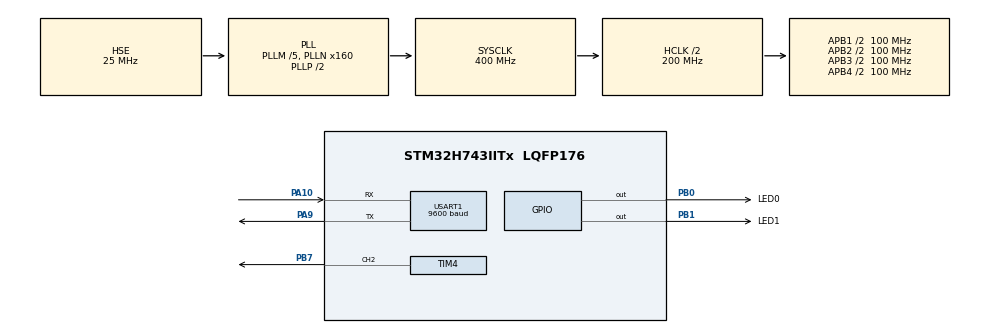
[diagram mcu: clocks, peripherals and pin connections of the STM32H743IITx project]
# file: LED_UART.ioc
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CORTEX_M7.default_mode_Activation=1
Mcu.Family=STM32H7
Mcu.Name=STM32H743IITx
Mcu.Package=LQFP176
NVIC.PriorityGroup=NVIC_PRIORITYGROUP_4
PA10.Mode=Asynchronous
PA10.Signal=USART1_RX
PA9.Mode=Asynchronous
PA9.Signal=USART1_TX
PB0.GPIO_Label=LED0
PB0.GPIO_ModeDefaultOutputPP=GPIO_MODE_OUTPUT_PP
PB0.GPIO_PuPd=GPIO_PULLDOWN
PB0.Signal=GPIO_Output
PB1.GPIO_Label=LED1
PB1.GPIO_ModeDefaultOutputPP=GPIO_MODE_OUTPUT_PP
PB1.GPIO_PuPd=GPIO_PULLDOWN
PB1.Signal=GPIO_Output
PB7.GPIO_FM7=SYSCFG_PMCR_I2C_PB7_FMP
PB7.GPIO_ModeDefaultPP=GPIO_MODE_AF_PP
PB7.GPIO_Speed=GPIO_SPEED_FREQ_HIGH
PB7.Signal=S_TIM4_CH2
PH0-OSC_IN\ (PH0).Mode=HSE-External-Oscillator
PH0-OSC_IN\ (PH0).Signal=RCC_OSC_IN
PH1-OSC_OUT\ (PH1).Mode=HSE-External-Oscillator
PH1-OSC_OUT\ (PH1).Signal=RCC_OSC_OUT
ProjectManager.HeapSize=0x200
ProjectManager.StackSize=0x400
ProjectManager.TargetToolchain=MDK-ARM V5.32
RCC.ADCFreq_Value=50390625
RCC.APB1Freq_Value=100000000
RCC.APB2Freq_Value=100000000
RCC.APB3Freq_Value=100000000
RCC.APB4Freq_Value=100000000
RCC.CortexFreq_Value=400000000
RCC.D1PPRE=RCC_APB3_DIV2
RCC.D2PPRE1=RCC_APB1_DIV2
RCC.D2PPRE2=RCC_APB2_DIV2
RCC.D3PPRE=RCC_APB4_DIV2
RCC.DIVM1=5
RCC.DIVN1=160
RCC.HCLKFreq_Value=200000000
RCC.HPRE=RCC_HCLK_DIV2
RCC.PLLSourceVirtual=RCC_PLLSOURCE_HSE
RCC.SYSCLKFreq_VALUE=400000000
RCC.SYSCLKSource=RCC_SYSCLKSOURCE_PLLCLK
RCC.USBFreq_Value=400000000
SH.S_TIM4_CH2.0=TIM4_CH2,PWM Generation2 CH2
TIM4.AutoReloadPreload=TIM_AUTORELOAD_PRELOAD_ENABLE
TIM4.Channel-PWM\ Generation2\ CH2=TIM_CHANNEL_2
TIM4.OCFastMode_PWM-PWM\ Generation2\ CH2=TIM_OCFAST_DISABLE
TIM4.OCMode_PWM-PWM\ Generation2\ CH2=TIM_OCMODE_ASSYMETRIC_PWM1
TIM4.OCPolarity_2=TIM_OCPOLARITY_LOW
TIM4.Period=20000-1
TIM4.Pulse-PWM\ Generation2\ CH2=10000
USART1.BaudRate=9600
USART1.VirtualMode-Asynchronous=VM_ASYNC
VP_TIM4_VS_ClockSourceINT.Mode=Internal
board=custom

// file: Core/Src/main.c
/* USER CODE BEGIN Header */
/**
  ******************************************************************************
  * @file           : main.c
  * @brief          : Main program body
  ******************************************************************************
  * @attention
  *
  * Copyright (c) 2022 STMicroelectronics.
  * All rights reserved.
  *
  * This software is licensed under terms that can be found in the LICENSE file
  * in the root directory of this software component.
  * If no LICENSE file comes with this software, it is provided AS-IS.
  *
  ******************************************************************************
  */
/* USER CODE END Header */
#include "main.h"
#include "tim.h"
#include "usart.h"
#include "gpio.h"

/* USER CODE BEGIN Includes */
#include "stdio.h"
#include "key.h"

/* USER CODE END Includes */

/* USER CODE BEGIN PTD */
//uint32_t g_JumpInit __attribute__((at(0x20000000), zero_init));
//#define VECT_TAB_OFFSET  0x2000U
#define VECT_TAB_OFFSET 0x08020000
/* USER CODE END PTD */

/* USER CODE BEGIN PM */
int fputc(int ch, FILE *f)
{
	while((USART1->ISR&0X40)==0);//
	USART1->TDR=(uint8_t)ch;
	return ch;
}
/* USER CODE END PM */

void SystemClock_Config(void);
static void MPU_Config(void);

int main(void)
{
  /* USER CODE BEGIN 1 */
	SCB->VTOR = FLASH_BANK1_BASE | VECT_TAB_OFFSET;
  /* USER CODE END 1 */

  /* MPU Configuration--------------------------------------------------------*/
  MPU_Config();

  /* MCU Configuration--------------------------------------------------------*/

  /* Reset of all peripherals, Initializes the Flash interface and the Systick. */
  HAL_Init();

  /* Configure the system clock */
  SystemClock_Config();

  /* Initialize all configured peripherals */
  MX_GPIO_Init();
  MX_USART1_UART_Init();
  MX_TIM4_Init();
  /* USER CODE BEGIN 2 */
	printf("hello stm32H7\r\n");
  printf("I like this!!\r\n");
	printf("Start PWM\r\n");
	printf("I am in APP mode !!!\r\n");
  printf("HELLO GitHub !!!\r\n");
  printf("HELLO GitHub !!!\r\n");
	HAL_TIM_Base_Start(&htim4);
  HAL_GPIO_WritePin(LED0_GPIO_Port,LED0_Pin,GPIO_PIN_RESET);
	HAL_TIM_PWM_Start(&htim4,TIM_CHANNEL_2);
  /* USER CODE END 2 */

  /* Infinite loop */
  while (1)
  {

  }
}

void SystemClock_Config(void)
{
  RCC_OscInitTypeDef RCC_OscInitStruct = {0};
  RCC_ClkInitTypeDef RCC_ClkInitStruct = {0};

  /** Supply configuration update enable
  */
  HAL_PWREx_ConfigSupply(PWR_LDO_SUPPLY);

  /** Configure the main internal regulator output voltage
  */
  __HAL_PWR_VOLTAGESCALING_CONFIG(PWR_REGULATOR_VOLTAGE_SCALE1);

  while(!__HAL_PWR_GET_FLAG(PWR_FLAG_VOSRDY)) {}

  /** Initializes the RCC Oscillators according to the specified parameters
  * in the RCC_OscInitTypeDef structure.
  */
  RCC_OscInitStruct.OscillatorType = RCC_OSCILLATORTYPE_HSE;
  RCC_OscInitStruct.HSEState = RCC_HSE_ON;
  RCC_OscInitStruct.PLL.PLLState = RCC_PLL_ON;
  RCC_OscInitStruct.PLL.PLLSource = RCC_PLLSOURCE_HSE;
  RCC_OscInitStruct.PLL.PLLM = 5;
  RCC_OscInitStruct.PLL.PLLN = 160;
  RCC_OscInitStruct.PLL.PLLP = 2;
  RCC_OscInitStruct.PLL.PLLQ = 2;
  RCC_OscInitStruct.PLL.PLLR = 2;
  RCC_OscInitStruct.PLL.PLLRGE = RCC_PLL1VCIRANGE_2;
  RCC_OscInitStruct.PLL.PLLVCOSEL = RCC_PLL1VCOWIDE;
  RCC_OscInitStruct.PLL.PLLFRACN = 0;
  if (HAL_RCC_OscConfig(&RCC_OscInitStruct) != HAL_OK)
  {
    Error_Handler();
  }

  /** Initializes the CPU, AHB and APB buses clocks
  */
  RCC_ClkInitStruct.ClockType = RCC_CLOCKTYPE_HCLK|RCC_CLOCKTYPE_SYSCLK
                              |RCC_CLOCKTYPE_PCLK1|RCC_CLOCKTYPE_PCLK2
                              |RCC_CLOCKTYPE_D3PCLK1|RCC_CLOCKTYPE_D1PCLK1;
  RCC_ClkInitStruct.SYSCLKSource = RCC_SYSCLKSOURCE_PLLCLK;
  RCC_ClkInitStruct.SYSCLKDivider = RCC_SYSCLK_DIV1;
  RCC_ClkInitStruct.AHBCLKDivider = RCC_HCLK_DIV2;
  RCC_ClkInitStruct.APB3CLKDivider = RCC_APB3_DIV2;
  RCC_ClkInitStruct.APB1CLKDivider = RCC_APB1_DIV2;
  RCC_ClkInitStruct.APB2CLKDivider = RCC_APB2_DIV2;
  RCC_ClkInitStruct.APB4CLKDivider = RCC_APB4_DIV2;

  if (HAL_RCC_ClockConfig(&RCC_ClkInitStruct, FLASH_LATENCY_2) != HAL_OK)
  {
    Error_Handler();
  }
}

/* MPU Configuration */

void MPU_Config(void)
{
  MPU_Region_InitTypeDef MPU_InitStruct = {0};

  /* Disables the MPU */
  HAL_MPU_Disable();

  /** Initializes and configures the Region and the memory to be protected
  */
  MPU_InitStruct.Enable = MPU_REGION_ENABLE;
  MPU_InitStruct.Number = MPU_REGION_NUMBER0;
  MPU_InitStruct.BaseAddress = 0x0;
  MPU_InitStruct.Size = MPU_REGION_SIZE_4GB;
  MPU_InitStruct.SubRegionDisable = 0x87;
  MPU_InitStruct.TypeExtField = MPU_TEX_LEVEL0;
  MPU_InitStruct.AccessPermission = MPU_REGION_NO_ACCESS;
  MPU_InitStruct.DisableExec = MPU_INSTRUCTION_ACCESS_DISABLE;
  MPU_InitStruct.IsShareable = MPU_ACCESS_SHAREABLE;
  MPU_InitStruct.IsCacheable = MPU_ACCESS_NOT_CACHEABLE;
  MPU_InitStruct.IsBufferable = MPU_ACCESS_NOT_BUFFERABLE;

  HAL_MPU_ConfigRegion(&MPU_InitStruct);
  /* Enables the MPU */
  HAL_MPU_Enable(MPU_PRIVILEGED_DEFAULT);

}

void Error_Handler(void)
{
  /* USER CODE BEGIN Error_Handler_Debug */
	printf("i am fall\r\n");
  /* User can add his own implementation to report the HAL error return state */
  __disable_irq();
  while (1)
  {
  }
  /* USER CODE END Error_Handler_Debug */
}
